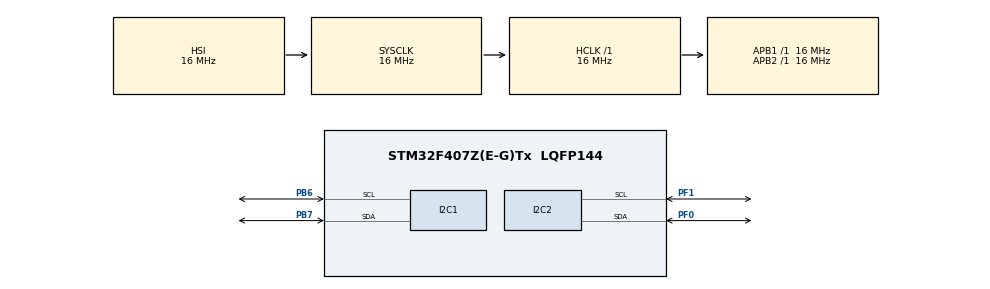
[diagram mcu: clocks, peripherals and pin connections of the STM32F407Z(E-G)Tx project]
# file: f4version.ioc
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I2C1.I2C_Mode=I2C_Standard
I2C2.I2C_Mode=I2C_Fast
Mcu.Family=STM32F4
Mcu.Name=STM32F407Z(E-G)Tx
Mcu.Package=LQFP144
NVIC.PriorityGroup=NVIC_PRIORITYGROUP_4
PA13.Mode=Serial_Wire
PA13.Signal=SYS_JTMS-SWDIO
PA14.Mode=Serial_Wire
PA14.Signal=SYS_JTCK-SWCLK
PB6.Mode=I2C
PB6.Signal=I2C1_SCL
PB7.Mode=I2C
PB7.Signal=I2C1_SDA
PF0.Mode=I2C
PF0.Signal=I2C2_SDA
PF1.Mode=I2C
PF1.Signal=I2C2_SCL
ProjectManager.HeapSize=0x200
ProjectManager.StackSize=0x400
ProjectManager.TargetToolchain=CMake
RCC.AHBFreq_Value=16000000
RCC.APB1Freq_Value=16000000
RCC.APB2Freq_Value=16000000
RCC.CortexFreq_Value=16000000
RCC.HSE_VALUE=25000000
RCC.HSI_VALUE=16000000
RCC.LSE_VALUE=32768
RCC.SYSCLKFreq_VALUE=16000000
RCC.VCOOutputFreq_Value=192000000
board=custom

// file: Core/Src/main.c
/* USER CODE BEGIN Header */
/**
  ******************************************************************************
  * @file           : main.c
  * @brief          : Main program body
  ******************************************************************************
  * @attention
  *
  * Copyright (c) 2025 STMicroelectronics.
  * All rights reserved.
  *
  * This software is licensed under terms that can be found in the LICENSE file
  * in the root directory of this software component.
  * If no LICENSE file comes with this software, it is provided AS-IS.
  *
  ******************************************************************************
  */
/* USER CODE END Header */
#include "main.h"
#include "i2c.h"
#include "gpio.h"

/* USER CODE BEGIN Includes */
#include "MPU6050.h"
#include "u8g2.h"
#include "stm32_u8g2.h"
/* USER CODE END Includes */

void SystemClock_Config(void);

int main(void)
{

  /* USER CODE BEGIN 1 */
    char res;
    char ss[1];

  /* USER CODE END 1 */

  /* MCU Configuration--------------------------------------------------------*/

  /* Reset of all peripherals, Initializes the Flash interface and the Systick. */
  HAL_Init();

  /* Configure the system clock */
  SystemClock_Config();

  /* Initialize all configured peripherals */
  MX_GPIO_Init();
  MX_I2C1_Init();
  MX_I2C2_Init();
  /* USER CODE BEGIN 2 */
    MPU6050_Init();
ss[0]=res;
    u8g2_t u8g2;
    u8g2Init(&u8g2);

  /* USER CODE END 2 */

  /* Infinite loop */
  /* USER CODE BEGIN WHILE */
  while (1)
  {
      MPU6050_Read_Result();
      u8g2_SetFont(&u8g2, u8g2_font_ncenB08_te);
      u8g2_DrawUTF8(&u8g2, 50, 30, "fuck");
      Ay=Ay*100;
    Ax=Ax*100;
    Az=Az*100;

      PrintVarFormat(&u8g2, 0, 50,u8g2_font_ncenB08_te,Ay);
      PrintVarFormat(&u8g2, 10, 40,u8g2_font_ncenB08_te,Ax);
      PrintVarFormat(&u8g2, 20, 30,u8g2_font_ncenB08_te,Az);
      PrintVarFormat(&u8g2, 30, 60,u8g2_font_ncenB08_te,Gx);
      PrintVarFormat(&u8g2, 50, 60,u8g2_font_ncenB08_te,Gy);
      PrintVarFormat(&u8g2, 70, 60,u8g2_font_ncenB08_te,Gz);
      PrintVarFormat(&u8g2, 100, 60,u8g2_font_ncenB08_te,roll);
      PrintVarFormat(&u8g2, 100, 40,u8g2_font_ncenB08_te,pitch);

      u8g2_SendBuffer(&u8g2);
      u8g2_ClearBuffer(&u8g2);

    /* USER CODE END WHILE */

  }
}

void SystemClock_Config(void)
{
  RCC_OscInitTypeDef RCC_OscInitStruct = {0};
  RCC_ClkInitTypeDef RCC_ClkInitStruct = {0};

  /** Configure the main internal regulator output voltage
  */
  __HAL_RCC_PWR_CLK_ENABLE();
  __HAL_PWR_VOLTAGESCALING_CONFIG(PWR_REGULATOR_VOLTAGE_SCALE1);

  /** Initializes the RCC Oscillators according to the specified parameters
  * in the RCC_OscInitTypeDef structure.
  */
  RCC_OscInitStruct.OscillatorType = RCC_OSCILLATORTYPE_HSI;
  RCC_OscInitStruct.HSIState = RCC_HSI_ON;
  RCC_OscInitStruct.HSICalibrationValue = RCC_HSICALIBRATION_DEFAULT;
  RCC_OscInitStruct.PLL.PLLState = RCC_PLL_NONE;
  if (HAL_RCC_OscConfig(&RCC_OscInitStruct) != HAL_OK)
  {
    Error_Handler();
  }

  /** Initializes the CPU, AHB and APB buses clocks
  */
  RCC_ClkInitStruct.ClockType = RCC_CLOCKTYPE_HCLK|RCC_CLOCKTYPE_SYSCLK
                              |RCC_CLOCKTYPE_PCLK1|RCC_CLOCKTYPE_PCLK2;
  RCC_ClkInitStruct.SYSCLKSource = RCC_SYSCLKSOURCE_HSI;
  RCC_ClkInitStruct.AHBCLKDivider = RCC_SYSCLK_DIV1;
  RCC_ClkInitStruct.APB1CLKDivider = RCC_HCLK_DIV1;
  RCC_ClkInitStruct.APB2CLKDivider = RCC_HCLK_DIV1;

  if (HAL_RCC_ClockConfig(&RCC_ClkInitStruct, FLASH_LATENCY_0) != HAL_OK)
  {
    Error_Handler();
  }
}

void Error_Handler(void)
{
  __disable_irq();
  while (1)
  {
  }
}
